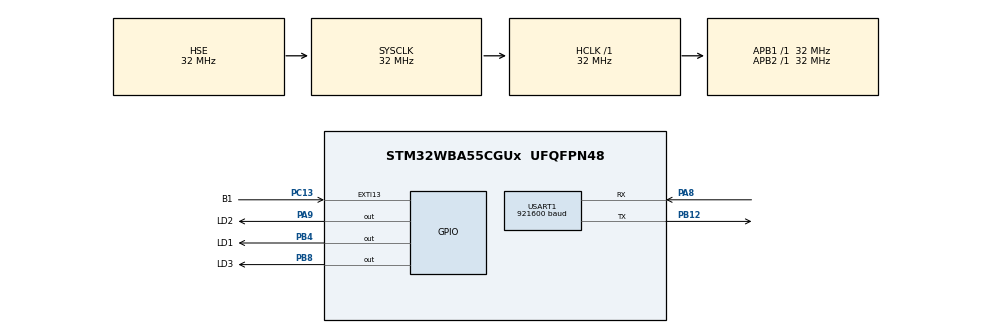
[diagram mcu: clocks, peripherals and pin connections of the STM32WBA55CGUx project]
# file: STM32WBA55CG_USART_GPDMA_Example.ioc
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CORTEX_M33_NS.userName=CORTEX_M33
GPDMA1.DESTINC_GPDMACH2=DMA_DINC_INCREMENTED
GPDMA1.IPHANDLE_GPDMACH2-SIMPLEREQUEST_GPDMACH2=__NULL
GPDMA1.PRIORITY_GPDMACH2=DMA_LOW_PRIORITY_HIGH_WEIGHT
GPDMA1.REQUEST_GPDMACH2=GPDMA1_REQUEST_USART1_RX
Mcu.Family=STM32WBA
Mcu.Name=STM32WBA55CGUx
Mcu.Package=UFQFPN48
NVIC.EXTI13_IRQn=true\:0\:0\:false\:false\:true\:true\:true\:true
NVIC.GPDMA1_Channel2_IRQn=true\:0\:0\:false\:false\:true\:false\:true\:true
NVIC.PriorityGroup=NVIC_PRIORITYGROUP_4
NVIC.USART1_IRQn=true\:0\:0\:false\:false\:true\:true\:true\:true
OSC_IN.Mode=HSE-External-Oscillator
OSC_IN.Signal=RCC_OSC_IN
OSC_OUT.Mode=HSE-External-Oscillator
OSC_OUT.Signal=RCC_OSC_OUT
PA8.GPIO_PuPd=GPIO_PULLUP
PA8.GPIO_Speed=GPIO_SPEED_FREQ_HIGH
PA8.Mode=Asynchronous
PA8.Signal=USART1_RX
PA9.GPIO_Label=LD2
PA9.GPIO_PuPd=GPIO_NOPULL
PA9.PinState=GPIO_PIN_SET
PA9.Signal=GPIO_Output
PB12.GPIO_PuPd=GPIO_PULLUP
PB12.GPIO_Speed=GPIO_SPEED_FREQ_HIGH
PB12.Mode=Asynchronous
PB12.Signal=USART1_TX
PB4\ (NJTRST).GPIO_Label=LD1
PB4\ (NJTRST).PinState=GPIO_PIN_SET
PB4\ (NJTRST).Signal=GPIO_Output
PB8.GPIO_Label=LD3
PB8.PinState=GPIO_PIN_SET
PB8.Signal=GPIO_Output
PC13.GPIO_Label=B1
PC13.GPIO_ModeDefaultEXTI=GPIO_MODE_IT_FALLING
PC13.GPIO_PuPd=GPIO_PULLUP
PC13.Privilege=EXTI_LINE_NPRIV
PC13.Signal=GPXTI13
ProjectManager.HeapSize=0x200
ProjectManager.StackSize=0x400
ProjectManager.TargetToolchain=STM32CubeIDE
RCC.ADCFreq_Value=32000000
RCC.AHBFreq_Value=32000000
RCC.APB1Freq_Value=32000000
RCC.APB1TimFreq_Value=32000000
RCC.APB2Freq_Value=32000000
RCC.APB2TimFreq_Value=32000000
RCC.CortexFreq_Value=4000000
RCC.HCLKFreq_Value=32000000
RCC.HSE_VALUE=32000000
RCC.HSI_VALUE=16000000
RCC.LSE_VALUE=32768
RCC.LSI1_VALUE=32000
RCC.LSI2_VALUE=32000
RCC.PLLFRACN=0
RCC.PLLM=4
RCC.PLLN=25
RCC.PLLSourceVirtual=RCC_PLLSOURCE_HSE
RCC.SYSCLKFreq_VALUE=32000000
RCC.SYSCLKSourceVirtual=RCC_SYSCLKSOURCE_HSE
RCC.SupplySource=PWR_SMPS_SUPPLY
RCC.USART1CLockSelectionVirtual=RCC_USART1CLKSOURCE_HSI
RCC.VCOOutputFreq_Value=200000000
USART1.AutonomousMode=AUTONOMOUS_MODE_ENABLE
USART1.BaudRate=921600
USART1.DataSize=500
USART1.IdleFrame=UART_IDLE_FRAME_ENABLE
USART1.TriggerPolarity=UART_TRIG_POLARITY_FALLING
USART1.TriggerSelection=UART_GPDMA1_CH2_TCF_TRG
USART1.VirtualMode-Asynchronous=VM_ASYNC
VP_CORTEX_M33_NS_VS_Hclk.Mode=Hclk_Mode
VP_GPDMA1_VS_GPDMACH2.Mode=SIMPLEREQUEST_GPDMACH2
VP_ICACHE_VS_ICACHE.Mode=DirectMappedCache
VP_MEMORYMAP_VS_MEMORYMAP.Mode=CurAppReg
VP_PWR_VS_SECSignals.Mode=Security/Privilege
board=custom

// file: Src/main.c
/* USER CODE BEGIN Header */
/**
  ******************************************************************************
  * @file           : main.c
  * @brief          : Main program body
  ******************************************************************************
  * @attention
  *
  * Copyright (c) 2025 STMicroelectronics.
  * All rights reserved.
  *
  * This software is licensed under terms that can be found in the LICENSE file
  * in the root directory of this software component.
  * If no LICENSE file comes with this software, it is provided AS-IS.
  *
  ******************************************************************************
  */
/* USER CODE END Header */
#include "main.h"
#include <string.h>

/* USER CODE BEGIN PD */
#define LED_TOGGLE_DELAY_MS      100U

/* USER CODE END PD */

UART_HandleTypeDef huart1;
DMA_HandleTypeDef handle_GPDMA1_Channel2;

/* USER CODE BEGIN PV */
static __IO uint32_t g_timing_delay;
__IO uint8_t ubReceptionComplete = 0;
volatile int g_stop_flag = 0;

/* Buffer used for reception */
const uint8_t aStringToReceive[] = "aaaaaaaaaa";
uint8_t ubNbDataToReceive = sizeof(aStringToReceive) - 1;
uint8_t aRxBuffer[sizeof(aStringToReceive) - 1];

/* USER CODE END PV */

void SystemClock_Config(void);
void CheckEndOfTransfer(void);
static void MX_GPDMA1_Init(void);
static void MX_ICACHE_Init(void);
static void MX_USART1_UART_Init(void);

/* USER CODE BEGIN PFP */
static void Enter_Stop1_Mode(void);
static void Turn_Off_LEDs(void);
uint8_t  Buffercmp8(uint8_t *pBuffer1, uint8_t *pBuffer2, uint8_t BufferLength);

/* USER CODE END PFP */

int main(void)
{

  /* MCU Configuration--------------------------------------------------------*/

  /* Reset of all peripherals, Initializes the Flash interface and the Systick. */
  HAL_Init();

  /* Configure the system clock */
  SystemClock_Config();

  /* Initialize all configured peripherals */
  MX_GPIO_Init();
  MX_GPDMA1_Init();
  MX_ICACHE_Init();
  MX_USART1_UART_Init();

  /* USER CODE BEGIN 2 */

  /* Enable Power Clock */
  __HAL_RCC_PWR_CLK_ENABLE();

  /* Wait for USER push-button press to start transfer */
  while (g_stop_flag == 0){ }

  HAL_UART_Receive_DMA(&huart1, aRxBuffer, ubNbDataToReceive);

  /* Enter stop mode 1 */
  Enter_Stop1_Mode();

  /* Check received data */
  CheckEndOfTransfer();

  /* USER CODE END 2 */

  /* Infinite loop */
  while (1)
  {

  }
}

void SystemClock_Config(void)
{
  RCC_OscInitTypeDef RCC_OscInitStruct = {0};
  RCC_ClkInitTypeDef RCC_ClkInitStruct = {0};

  /** Supply configuration update enable
  */
  HAL_PWREx_ConfigSupply(PWR_SMPS_SUPPLY);

  /** Configure the main internal regulator output voltage
  */
  if (HAL_PWREx_ControlVoltageScaling(PWR_REGULATOR_VOLTAGE_SCALE1) != HAL_OK)
  {
    Error_Handler();
  }

  /** Initializes the CPU, AHB and APB busses clocks
  */
  RCC_OscInitStruct.OscillatorType = RCC_OSCILLATORTYPE_HSI|RCC_OSCILLATORTYPE_HSE;
  RCC_OscInitStruct.HSEState = RCC_HSE_ON;
  RCC_OscInitStruct.HSEDiv = RCC_HSE_DIV1;
  RCC_OscInitStruct.HSIState = RCC_HSI_ON;
  RCC_OscInitStruct.HSICalibrationValue = RCC_HSICALIBRATION_DEFAULT;
  RCC_OscInitStruct.PLL1.PLLState = RCC_PLL_NONE;
  if (HAL_RCC_OscConfig(&RCC_OscInitStruct) != HAL_OK)
  {
    Error_Handler();
  }

  /** Initializes the CPU, AHB and APB busses clocks
  */
  RCC_ClkInitStruct.ClockType = RCC_CLOCKTYPE_HCLK|RCC_CLOCKTYPE_SYSCLK
                              |RCC_CLOCKTYPE_PCLK1|RCC_CLOCKTYPE_PCLK2
                              |RCC_CLOCKTYPE_PCLK7|RCC_CLOCKTYPE_HCLK5;
  RCC_ClkInitStruct.SYSCLKSource = RCC_SYSCLKSOURCE_HSE;
  RCC_ClkInitStruct.AHBCLKDivider = RCC_SYSCLK_DIV1;
  RCC_ClkInitStruct.APB1CLKDivider = RCC_HCLK_DIV1;
  RCC_ClkInitStruct.APB2CLKDivider = RCC_HCLK_DIV1;
  RCC_ClkInitStruct.APB7CLKDivider = RCC_HCLK_DIV1;
  RCC_ClkInitStruct.AHB5_PLL1_CLKDivider = RCC_SYSCLK_PLL1_DIV1;
  RCC_ClkInitStruct.AHB5_HSEHSI_CLKDivider = RCC_SYSCLK_HSEHSI_DIV1;

  if (HAL_RCC_ClockConfig(&RCC_ClkInitStruct, FLASH_LATENCY_0) != HAL_OK)
  {
    Error_Handler();
  }
}

static void MX_GPDMA1_Init(void)
{

  /* Peripheral clock enable */
  __HAL_RCC_GPDMA1_CLK_ENABLE();

  // Link DMA handle to UART handle
  __HAL_LINKDMA(&huart1, hdmarx, handle_GPDMA1_Channel2);

  /* GPDMA1 interrupt Init */
    HAL_NVIC_SetPriority(GPDMA1_Channel2_IRQn, 0, 0);
    HAL_NVIC_EnableIRQ(GPDMA1_Channel2_IRQn);

}

static void MX_ICACHE_Init(void)
{

  /** Enable instruction cache in 1-way (direct mapped cache)
  */
  if (HAL_ICACHE_ConfigAssociativityMode(ICACHE_1WAY) != HAL_OK)
  {
    Error_Handler();
  }
  if (HAL_ICACHE_Enable() != HAL_OK)
  {
    Error_Handler();
  }

}

static void MX_USART1_UART_Init(void)
{

  UART_AutonomousModeConfTypeDef sConfigUart1 = {0};

  huart1.Instance = USART1;
  huart1.Init.BaudRate = 921600;
  huart1.Init.WordLength = UART_WORDLENGTH_8B;
  huart1.Init.StopBits = UART_STOPBITS_1;
  huart1.Init.Parity = UART_PARITY_NONE;
  huart1.Init.Mode = UART_MODE_TX_RX;
  huart1.Init.HwFlowCtl = UART_HWCONTROL_NONE;
  huart1.Init.OverSampling = UART_OVERSAMPLING_16;
  huart1.Init.OneBitSampling = UART_ONE_BIT_SAMPLE_DISABLE;
  huart1.Init.ClockPrescaler = UART_PRESCALER_DIV1;
  huart1.AdvancedInit.AdvFeatureInit = UART_ADVFEATURE_NO_INIT;
  if (HAL_UART_Init(&huart1) != HAL_OK)
  {
    Error_Handler();
  }
  if (HAL_UARTEx_SetTxFifoThreshold(&huart1, UART_TXFIFO_THRESHOLD_1_8) != HAL_OK)
  {
    Error_Handler();
  }
  if (HAL_UARTEx_SetRxFifoThreshold(&huart1, UART_RXFIFO_THRESHOLD_1_8) != HAL_OK)
  {
    Error_Handler();
  }
  if (HAL_UARTEx_DisableFifoMode(&huart1) != HAL_OK)
  {
    Error_Handler();
  }
  sConfigUart1.AutonomousModeState = UART_AUTONOMOUS_MODE_ENABLE;
  sConfigUart1.TriggerSelection = UART_GPDMA1_CH2_TCF_TRG;
  sConfigUart1.TriggerPolarity = UART_TRIG_POLARITY_FALLING;
  sConfigUart1.DataSize = 10;
  sConfigUart1.IdleFrame = UART_IDLE_FRAME_ENABLE;
  if (HAL_UARTEx_SetConfigAutonomousMode(&huart1, &sConfigUart1) != HAL_OK)
  {
    Error_Handler();
  }
  if (HAL_UARTEx_EnableStopMode(&huart1) != HAL_OK)
  {
    Error_Handler();
  }

}

void MX_GPIO_Init(void)
{
  GPIO_InitTypeDef GPIO_InitStruct = {0};

  /* GPIO Ports Clock Enable */
  __HAL_RCC_GPIOB_CLK_ENABLE();
  __HAL_RCC_GPIOA_CLK_ENABLE();
  __HAL_RCC_GPIOC_CLK_ENABLE();

  /*Configure GPIO pin Output Level */
  HAL_GPIO_WritePin(GPIOB, LD3_Pin|LD1_Pin, GPIO_PIN_SET);

  /*Configure GPIO pin Output Level */
  HAL_GPIO_WritePin(LD2_GPIO_Port, LD2_Pin, GPIO_PIN_SET);

  /*Configure GPIO pins : LD3_Pin LD1_Pin */
  GPIO_InitStruct.Pin = LD3_Pin|LD1_Pin;
  GPIO_InitStruct.Mode = GPIO_MODE_OUTPUT_PP;
  GPIO_InitStruct.Pull = GPIO_NOPULL;
  GPIO_InitStruct.Speed = GPIO_SPEED_FREQ_LOW;
  HAL_GPIO_Init(GPIOB, &GPIO_InitStruct);

  /*Configure GPIO pin : B1_Pin */
  GPIO_InitStruct.Pin = B1_Pin;
  GPIO_InitStruct.Mode = GPIO_MODE_IT_FALLING;
  GPIO_InitStruct.Pull = GPIO_PULLUP;
  HAL_GPIO_Init(B1_GPIO_Port, &GPIO_InitStruct);

  /*Configure GPIO pin : LD2_Pin */
  GPIO_InitStruct.Pin = LD2_Pin;
  GPIO_InitStruct.Mode = GPIO_MODE_OUTPUT_PP;
  GPIO_InitStruct.Pull = GPIO_NOPULL;
  GPIO_InitStruct.Speed = GPIO_SPEED_FREQ_LOW;
  HAL_GPIO_Init(LD2_GPIO_Port, &GPIO_InitStruct);

  /* EXTI interrupt init*/
  HAL_NVIC_SetPriority(EXTI13_IRQn, 0, 0);
  HAL_NVIC_EnableIRQ(EXTI13_IRQn);

}

/* USER CODE BEGIN 4 */
static void Enter_Stop1_Mode(void)
{
	/* Insert 5 second delay */
	HAL_Delay(5000);

	/* Clear All wakeup flag */
	__HAL_PWR_CLEAR_FLAG(PWR_WAKEUP_ALL_FLAG);

	Turn_Off_LEDs();

    /* Deactivate Debug of Stop/Standby mode */
    //CLEAR_BIT(DBGMCU->SCR, DBGMCU_SCR_DBG_STOP);
    //CLEAR_BIT(DBGMCU->SCR, DBGMCU_SCR_DBG_STANDBY);

    // Disable HT DMA interrupt
    __HAL_DMA_DISABLE_IT(&handle_GPDMA1_Channel2, DMA_IT_HT);

    /* Suspend SysTick to prevent it from waking up the MCU */
    HAL_SuspendTick();

	/* Enter STOP 1 mode */
	HAL_PWR_EnterSTOPMode(PWR_LOWPOWERREGULATOR_ON, PWR_STOPENTRY_WFI);

	/* Resume SysTick upon wake-up */
	HAL_ResumeTick();

	/* Configure system clock after wake-up from STOP: enable HSE, PLL and select
	PLL as system clock source (HSE and PLL are disabled in STOP mode) */
	SystemClock_Config();

    /* ... STOP 1 mode ... */

	/* Configure system clock after wake-up from STOP: enable HSE, PLL and select
	PLL as system clock source (HSE and PLL are disabled in STOP mode) */
}

void HAL_GPIO_EXTI_Falling_Callback(uint16_t GPIO_Pin)
{
  if (GPIO_Pin == B1_Pin)
  {
    g_stop_flag = 1;
  }
}

void HAL_UART_RxCpltCallback(UART_HandleTypeDef *huart)
{
  if (huart->Instance == USART1)
  {
	  Turn_Off_LEDs();
	  ubReceptionComplete = 1;
  }
}

void CheckEndOfTransfer(void)
{
  /* 2 - Wait end of reception */
  while (ubReceptionComplete != 1)
  {
  }

  /* 3 - Compare received string to expected one */
  if (Buffercmp8((uint8_t *)aStringToReceive, (uint8_t *)aRxBuffer, ubNbDataToReceive))
  {
    /* Processing Error */
	HAL_GPIO_WritePin(LD3_GPIO_Port, LD3_Pin, GPIO_PIN_RESET); // turn on LED3
  }
  else
  {
    /* Turn On Led2 if data are well received */
	HAL_GPIO_WritePin(LD2_GPIO_Port, LD2_Pin, GPIO_PIN_RESET); // turn on LED2
  }
}

uint8_t Buffercmp8(uint8_t *pBuffer1, uint8_t *pBuffer2, uint8_t BufferLength)
{
  while (BufferLength--)
  {
    if (*pBuffer1 != *pBuffer2)
    {
      return 1;
    }

    pBuffer1++;
    pBuffer2++;
  }

  return 0;
}

/**
  * @brief SYSTICK callback
  * @param None
  * @retval None
  */
void HAL_SYSTICK_Callback(void)
{
  if (g_timing_delay != 0)
  {
    g_timing_delay--;
  }
  else
  {
	HAL_GPIO_TogglePin(LD1_GPIO_Port, LD1_Pin);
    g_timing_delay = LED_TOGGLE_DELAY_MS;
  }
}

static void Turn_Off_LEDs(void)
{
	HAL_GPIO_WritePin(LD1_GPIO_Port, LD1_Pin, GPIO_PIN_SET); // turn off LED1
	HAL_GPIO_WritePin(LD2_GPIO_Port, LD2_Pin, GPIO_PIN_SET); // turn off LED2
	HAL_GPIO_WritePin(LD3_GPIO_Port, LD3_Pin, GPIO_PIN_SET); // turn off LED3
}

/* USER CODE END 4 */

void Error_Handler(void)
{
  __disable_irq();
  while (1)
  {
  }
}
